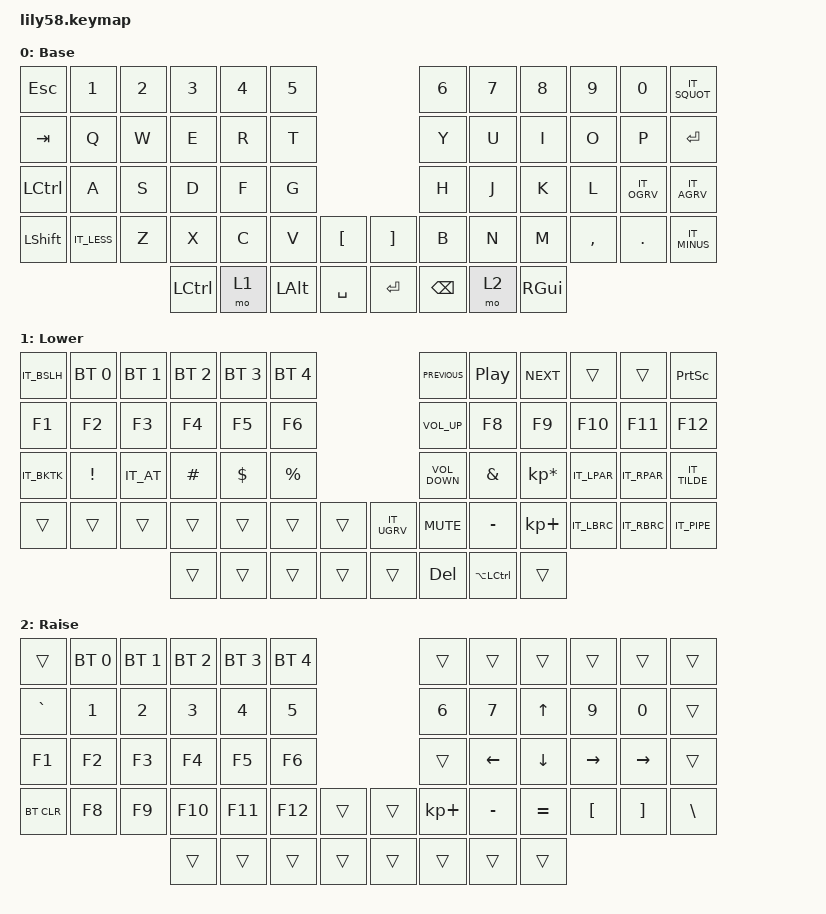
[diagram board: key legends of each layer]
/*
 * Copyright (c) 2020 The ZMK Contributors
 *
 * SPDX-License-Identifier: MIT
 */

#include <behaviors.dtsi>
#include <dt-bindings/zmk/keys.h>
#include <dt-bindings/zmk/bt.h>
#include <dt-bindings/zmk/ext_power.h>
#include "keymap_italian.h"

/ {
    keymap {
        compatible = "zmk,keymap";

        default_layer {
            // ------------------------------------------------------------------------------------------------------------
            // |  ESC  |  1  |  2  |  3   |  4   |  5   |                   |  6   |  7    |  8    |  9   |   0   |   '   |
            // |  TAB  |  Q  |  W  |  E   |  R   |  T   |                   |  Y   |  U    |  I    |  O   |   P   | ENTER |
            // |  CTRL |  A  |  S  |  D   |  F   |  G   |                   |  H   |  J    |  K    |  L   |   ò   |   à   |
            // | SHIFT |  <  |  z  |  x   |  c   |  v   |   "["  |  |  "]"  |  b   |  n    |  m    |  ,   |   .   |   -   |
            //                     | LCTRL| LOWER| LALT |  SPACE |  | ENTER | BKSPC| RAISE | GUI   |

            display-name = "Base";
            bindings = <
&kp ESC     &kp N1         &kp N2        &kp N3        &kp N4        &kp N5                               &kp N6         &kp N7        &kp N8        &kp N9        &kp N0        &kp IT_SQUOT
&kp TAB     &kp Q          &kp W         &kp E         &kp R         &kp T                                &kp Y          &kp U         &kp I         &kp O         &kp P         &kp ENTER
&kp LCTRL   &kp A          &kp S         &kp D         &kp F         &kp G                                &kp H          &kp J         &kp K         &kp L         &kp IT_OGRV   &kp IT_AGRV
&kp LSHFT   &kp IT_LESS    &kp Z         &kp X         &kp C         &kp V         &kp LBKT     &kp RBKT  &kp B          &kp N         &kp M         &kp COMMA     &kp PERIOD    &kp IT_MINUS
                                         &kp LCTRL     &mo 1         &kp LEFT_ALT  &kp SPACE    &kp RET   &kp BACKSPACE  &mo 2         &kp RGUI
            >;
        };

        lower_layer {
            // ------------------------------------------------------------------------------------------------------------
            // |   \   | BT1 | BT2 |  BT3 |  BT4 |  BT5 |                   |PREV  | PAUSE | NEXT  |      |       | PRTSCR|
            // |  F1   |  F2 |  F3 |  F4  |  F5  |  F6  |                   |VOLUP |  F8   |  F9   |  F10 |  F11  |  F12  |
            // |   `   |  !  |  @  |  #   |  $   |  %   |                   |VOLWN |  &    |  *    |  (   |   )   |   ~   |
            // |       |     |     |      |      |      |        |  |   ù   |MUTE  |  _    |  +    |  {   |   }   |  "|"  |
            //                     |      |      |      |        |  |       | DEL  | ALTGR |       |

            display-name = "Lower";
            bindings = <
&kp IT_BSLH &bt BT_SEL 0  &bt BT_SEL 1  &bt BT_SEL 2  &bt BT_SEL 3  &bt BT_SEL 4                        &kp C_PREVIOUS     &kp C_PLAY_PAUSE  &kp C_NEXT       &trans      &trans      &kp PRINTSCREEN
&kp F1      &kp F2        &kp F3        &kp F4        &kp F5        &kp F6                              &kp C_VOLUME_UP    &kp F8            &kp F9           &kp F10     &kp F11     &kp F12
&kp IT_BKTK &kp EXCL      &kp IT_AT     &kp HASH      &kp DOLLAR    &kp PRCNT                           &kp C_VOLUME_DOWN  &kp AMPS          &kp KP_MULTIPLY  &kp IT_LPAR &kp IT_RPAR &kp IT_TILDE
&trans      &trans        &trans        &trans        &trans        &trans        &trans  &kp IT_UGRV   &kp C_MUTE         &kp MINUS         &kp KP_PLUS      &kp IT_LBRC &kp IT_RBRC &kp IT_PIPE
                                        &trans        &trans        &trans        &trans  &trans        &kp DEL            &kp LA(LCTRL)     &trans
            >;
        };

        raise_layer {
            // ------------------------------------------------------------------------------------------------------------
            // |       | BT1 | BT2 |  BT3 |  BT4 |  BT5 |                   |      |       |       |      |       |       |
            // |   `   |  1  |  2  |  3   |  4   |  5   |                   |  6   |   7   |   ^   |  9   |   0   |       |
            // |   F1  |  F2 |  F3 |  F4  |  F5  |  F6  |                   |      |   <-  |   v   |  ->  |  ->   |       |
            // | BT_CLR|  F8 |  F9 |  F10 |  F11 |  F12 |        |  |       |  +   |   -   |   =   |  [   |   ]   |   \   |
            //                     |      |      |      |        |  |       |      |       |       |

            display-name = "Raise";
            bindings = <
&trans     &bt BT_SEL 0  &bt BT_SEL 1  &bt BT_SEL 2  &bt BT_SEL 3  &bt BT_SEL 4               &trans       &trans     &trans     &trans    &trans     &trans
&kp GRAVE  &kp N1        &kp N2        &kp N3        &kp N4        &kp N5                     &kp N6       &kp N7     &kp UP     &kp N9    &kp N0     &trans
&kp F1     &kp F2        &kp F3        &kp F4        &kp F5        &kp F6                     &trans       &kp LEFT   &kp DOWN   &kp RIGHT &kp RIGHT  &trans
&bt BT_CLR &kp F8        &kp F9        &kp F10       &kp F11       &kp F12  &trans    &trans  &kp KP_PLUS  &kp MINUS  &kp EQUAL  &kp LBKT  &kp RBKT   &kp BSLH
                           &trans   &trans   &trans   &trans    &trans  &trans       &trans     &trans
            >;
        };
    };
};
